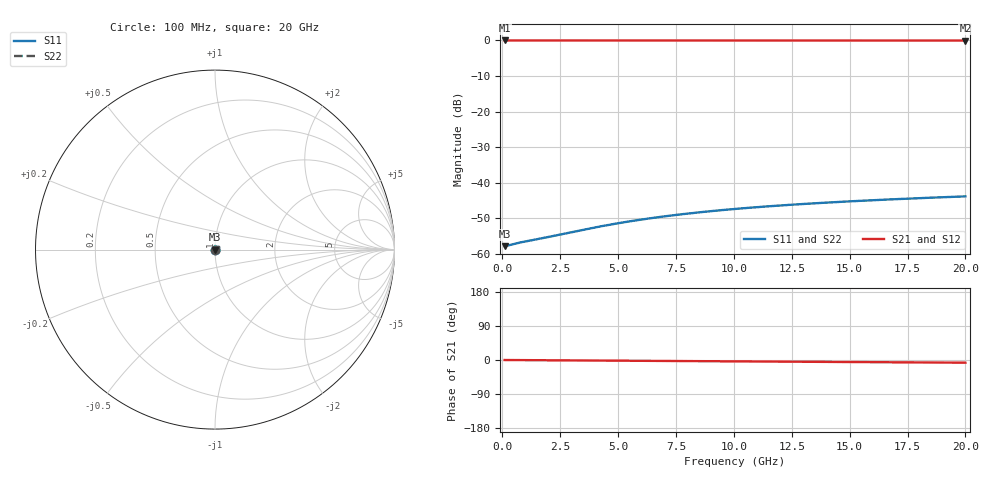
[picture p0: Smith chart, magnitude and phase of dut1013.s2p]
! Touchstone file exported from HFSS 2026.1.0
!  File:  C:/ffzhzh/LocalFiles/Ansys_Project_Files/temp_train_TSV_1013_1783188684_55132.aedt
!  Generated:  02:13:13 AM Jul  5, 2026
!  Design:  TSV
!  Project:  temp_train_TSV_1013_1783188684_55132
! Variables:
!  h_bsmrdl = 2um
!  h_ox = 20um
!  h_rdl = 5um
!  h_sub = 77.9um
!  h_tmrdl = 5um
!  h_tsv = 77.9um
!  h_via = 3um
!  l_bsmrdl = 300um
!  l_sub = 405.32um
!  l_tmrdl = 200um
!  m_sub = 200um
!  pitch = 11.51um
!  r_tsv = 2.66um
!  s_tmrdl = 10um
!  w_bsmrdl = 18um
!  w_sub = 500um
!  w_tmrdl = 12um
!  x_tsv_center1 = 206um
!  x_tsv_center2 = 524um
!  x_tsv_center3 = 736um
!  x_tsv_center4 = 1054um
!  x_tsv_center5 = 1266um
!  x_tsv_center6 = 1584um
# GHz S MA R 50.000000
! Terminal data exported
! Port[1] = TSV1_1_T1
! Port[2] = TSV1_1_T2
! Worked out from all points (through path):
!   200 points, 100 MHz to 20 GHz, reference 50 ohm
!   highest |S21| = -0.01 dB at 100 MHz (marker M1); lowest = 0.0 dB at 20 GHz (marker M2)
!   lowest |S11| = -57.8 dB at 100 MHz (marker M3), VSWR 1.00, Z = 50.1 + j0.00678 ohm
!   |S11| at or under -10 dB: start of sweep to end of sweep
!   |S22| runs from -57.8 to -43.8 dB; largest |S21 - S12| = 7.1e-15
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0.1  0.001284 3.0  0.9987 -0.0  0.9987 -0.0  0.001284 3.0
! Gamma 0 0 0 0
! Port Impedance 50 0 50 0
0.2  0.001302 5.8  0.9987 -0.1  0.9987 -0.1  0.001302 5.8
0.6  0.001406 13.4  0.9986 -0.2  0.9986 -0.2  0.001406 13.4
0.8  0.001453 16.1  0.9986 -0.3  0.9986 -0.3  0.001453 16.1
1.9  0.001706 28.5  0.9985 -0.7  0.9985 -0.7  0.001706 28.5
3.5  0.002186 39.8  0.9984 -1.3  0.9984 -1.3  0.002186 39.8
4.3  0.002455 43.1  0.9983 -1.6  0.9983 -1.6  0.002455 43.1
5.1  0.00273 45.2  0.9981 -1.9  0.9981 -1.9  0.00273 45.2
5.9  0.003003 46.6  0.998 -2.1  0.998 -2.1  0.003003 46.6
6.8  0.003302 47.5  0.9979 -2.5  0.9979 -2.5  0.003302 47.5
7.6  0.00356 47.9  0.9977 -2.7  0.9977 -2.7  0.00356 47.9
8.4  0.003807 48.0  0.9976 -3.0  0.9976 -3.0  0.003807 48.0
9.2  0.004044 48.0  0.9975 -3.3  0.9975 -3.3  0.004043 48.0
10.1  0.004297 47.8  0.9973 -3.6  0.9973 -3.6  0.004297 47.8
10.9  0.004512 47.6  0.9972 -3.9  0.9972 -3.9  0.004512 47.6
11.7  0.004717 47.4  0.9971 -4.2  0.9971 -4.2  0.004716 47.4
12.5  0.004913 47.1  0.9969 -4.5  0.9969 -4.5  0.004912 47.1
13.4  0.005123 46.7  0.9968 -4.8  0.9968 -4.8  0.005123 46.7
15  0.005475 46.1  0.9966 -5.4  0.9966 -5.4  0.005474 46.1
16.7  0.005821 45.4  0.9964 -5.9  0.9964 -5.9  0.00582 45.5
18.3  0.006126 44.9  0.9962 -6.5  0.9962 -6.5  0.006125 44.9
20  0.006433 44.3  0.996 -7.1  0.996 -7.1  0.006432 44.3
